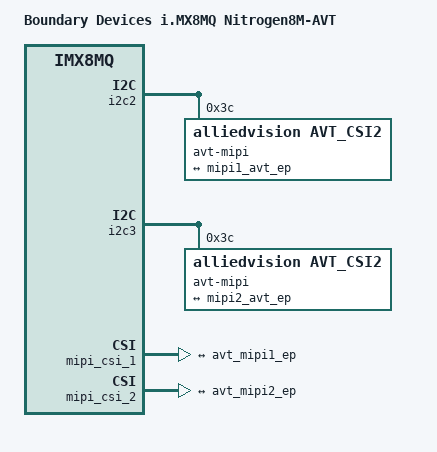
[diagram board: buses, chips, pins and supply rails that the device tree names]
// SPDX-License-Identifier: (GPL-2.0+ OR MIT)
/*
 * Copyright 2020 Boundary Devices
 */

#include "imx8mq-nitrogen8m.dts"

/ {
	model = "Boundary Devices i.MX8MQ Nitrogen8M-AVT";
	compatible = "boundary,imx8mq-nitrogen8m-avt", "fsl,imx8mq";
};

&iomuxc {
	/delete-node/ i2c2-ov5640-mipigrp;
	/delete-node/ i2c3-ov5640-mipigrp;

	pinctrl_i2c2_avt_mipi: i2c2-avt-mipigrp {
		fsl,pins = <
#define GP_CSI1_AVT_GPIO2	<&gpio3 3 GPIO_ACTIVE_HIGH>
			MX8MQ_IOMUXC_NAND_CE2_B_GPIO3_IO3		0x05
#define GP_CSI1_AVT_GPIO3	<&gpio3 17 GPIO_ACTIVE_HIGH>
			MX8MQ_IOMUXC_NAND_WE_B_GPIO3_IO17		0x05
		>;
	};

	pinctrl_i2c3_avt_mipi: i2c3-avt-mipigrp {
		fsl,pins = <
#define GP_CSI2_AVT_GPIO2	<&gpio3 2 GPIO_ACTIVE_HIGH>
			MX8MQ_IOMUXC_NAND_CE1_B_GPIO3_IO2		0x05
#define GP_CSI2_AVT_GPIO3	<&gpio2 19 GPIO_ACTIVE_HIGH>
			MX8MQ_IOMUXC_SD2_RESET_B_GPIO2_IO19		0x05
		>;
	};
};

&i2c2 {
	/delete-node/ ov5640-mipi1@3c;

	avt-mipi@3c {
		compatible = "alliedvision,avt_csi2";
		reg = <0x3c>;
		pinctrl-names = "default";
		pinctrl-0 = <&pinctrl_i2c2_avt_mipi>;
		status = "okay";

		port {
			avt_mipi1_ep: endpoint {
				clock-lanes = <0>;
				data-lanes = <1 2 3 4>;
				remote-endpoint = <&mipi1_avt_ep>;
			};
		};
	};
};

&i2c3 {
	/delete-node/ ov5640-mipi2@3c;

	avt-mipi@3c {
		compatible = "alliedvision,avt_csi2";
		reg = <0x3c>;
		pinctrl-names = "default";
		pinctrl-0 = <&pinctrl_i2c3_avt_mipi>;
		status = "okay";

		port {
			avt_mipi2_ep: endpoint {
				clock-lanes = <0>;
				data-lanes = <1 2 3 4>;
				remote-endpoint = <&mipi2_avt_ep>;
			};
		};
	};
};

&mipi_csi_1 {
	rxhs-settle = <0x07>;

	port {
		/delete-node/ endpoint@1;

		mipi1_avt_ep: endpoint@1 {
			clock-lanes = <0>;
			data-lanes = <1 2 3 4>;
			remote-endpoint = <&avt_mipi1_ep>;
		};
	};
};

&mipi_csi_2 {
	rxhs-settle = <0x07>;

	port {
		/delete-node/ endpoint@1;

		mipi2_avt_ep: endpoint@1 {
			clock-lanes = <0>;
			data-lanes = <1 2 3 4>;
			remote-endpoint = <&avt_mipi2_ep>;
		};
	};
};
